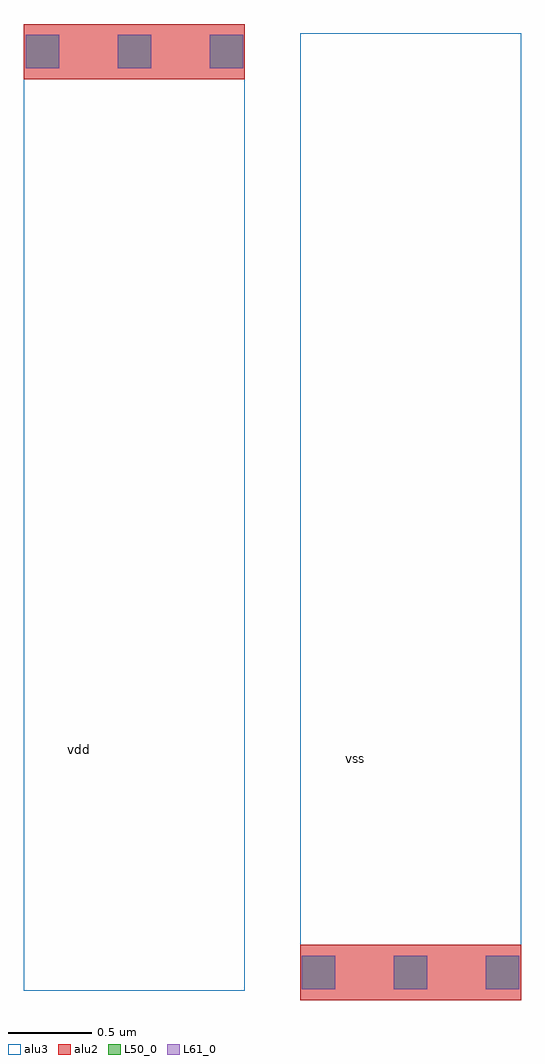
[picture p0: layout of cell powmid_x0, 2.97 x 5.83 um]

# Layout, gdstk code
import gdstk
lib = gdstk.Library(unit=1e-6, precision=2.5e-09)
def R(c, l, rs):  # rectangles x0, y0, x1, y1
    for r in rs: c.add(gdstk.rectangle(r[:2], r[2:], *l))
def A(c, l, x, y, w, h, nx, ny, dx, dy):  # array of equal rectangles
    R(c, l, [(x+i*dx, y+j*dy, x+i*dx+w, y+j*dy+h) for i in range(nx) for j in range(ny)])
L50_0 = (50, 0)
alu2 = (51, 0)
L61_0 = (61, 0)
alu3 = (62, 0)

powmid_x0 = lib.new_cell('powmid_x0')
A(powmid_x0, L50_0, 2.1, -0.1, 0.2, 0.2, 3, 1, 0.55, 0)
A(powmid_x0, L50_0, 0.45, 5.4, 0.2, 0.2, 3, 1, 0.55, 0)
R(powmid_x0, alu2, [(2.09,-0.165,3.41,0.165), (0.44,5.335,1.76,5.665)])
A(powmid_x0, L61_0, 2.1, -0.1, 0.2, 0.2, 3, 1, 0.55, 0)
A(powmid_x0, L61_0, 0.45, 5.4, 0.2, 0.2, 3, 1, 0.55, 0)
R(powmid_x0, alu3, [(2.09,-0.165,3.41,5.61), (0.44,-0.11,1.76,5.665)])
powmid_x0.add(gdstk.Label('vss', (2.42,1.2775), layer=62, texttype=0))
powmid_x0.add(gdstk.Label('vdd', (0.77,1.3325), layer=62, texttype=0))

lib.write_gds('powmid_x0.gds')
